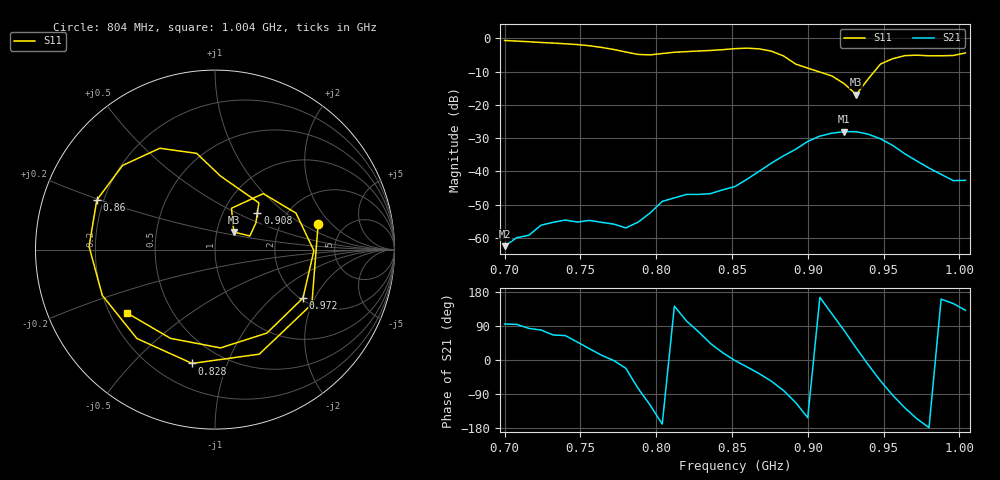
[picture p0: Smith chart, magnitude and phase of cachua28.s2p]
# Hz S RI R 50
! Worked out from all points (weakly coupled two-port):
!   39 points, 700 MHz to 1.004 GHz, reference 50 ohm
!   highest |S21| = -28.05 dB at 924 MHz (marker M1); lowest = -62.5 dB at 700 MHz (marker M2)
!   lowest |S11| = -16.9 dB at 932 MHz (marker M3), VSWR 1.33, Z = 60.4 + j12.1 ohm
!   |S11| at or under -10 dB: 907.2 MHz to 943.8 MHz (36.62 MHz wide, 3.96 % of centre)
!   S12 and S22 are empty: the file has one direction only
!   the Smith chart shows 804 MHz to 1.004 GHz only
!   S11 on the Smith chart (normalised r, x): 804 MHz: 3.23, +1.42; 828 MHz: 0.35, -0.76; 860 MHz: 0.17, +0.20; 908 MHz: 1.44, +0.65; 972 MHz: 2.06, -1.62; 1.004 GHz: 0.27, -0.30
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7e8  0.7685 0.5272  -6.31e-05 0.000746  0 0  0 0
7.24e8  0.8297 -0.2592  0.00029 0.00152  0 0  0 0
7.4e8  0.4427 -0.7025  0.000798 0.00167  0 0  0 0
7.56e8  -0.1998 -0.7497  0.00159 0.000905  0 0  0 0
7.72e8  -0.6552 -0.1886  0.00161 -3.91e-05  0 0  0 0
7.8e8  -0.5781 0.2351  0.00131 -0.000526  0 0  0 0
7.88e8  -0.2212 0.5302  0.000459 -0.00166  0 0  0 0
7.96e8  0.2615 0.5014  -0.00115 -0.00207  0 0  0 0
8.04e8  0.5748 0.1431  -0.00347 -0.000671  0 0  0 0
8.2e8  0.2466 -0.5825  -0.00101 0.00438  0 0  0 0
8.28e8  -0.1277 -0.6342  0.00123 0.00433  0 0  0 0
8.52e8  -0.7017 0.0172  0.00591 -0.000156  0 0  0 0
8.6e8  -0.6586 0.276  0.00724 -0.00241  0 0  0 0
8.76e8  -0.3075 0.5646  0.00746 -0.011  0 0  0 0
9e8  0.2445 0.2604  -0.0249 -0.0131  0 0  0 0
9.08e8  0.2359 0.2043  -0.0328 0.00859  0 0  0 0
9.24e8  0.1942 0.0759  0.00839 0.0387  0 0  0 0
9.32e8  0.1045 0.0979  0.0337 0.0207  0 0  0 0
9.56e8  0.4511 0.2035  -0.00125 -0.0246  0 0  0 0
9.72e8  0.4901 -0.27  -0.013 -0.00602  0 0  0 0
9.88e8  0.0306 -0.5477  -0.0085 0.00297  0 0  0 0
1.004e9  -0.4913 -0.3525  -0.00483 0.00551  0 0  0 0
